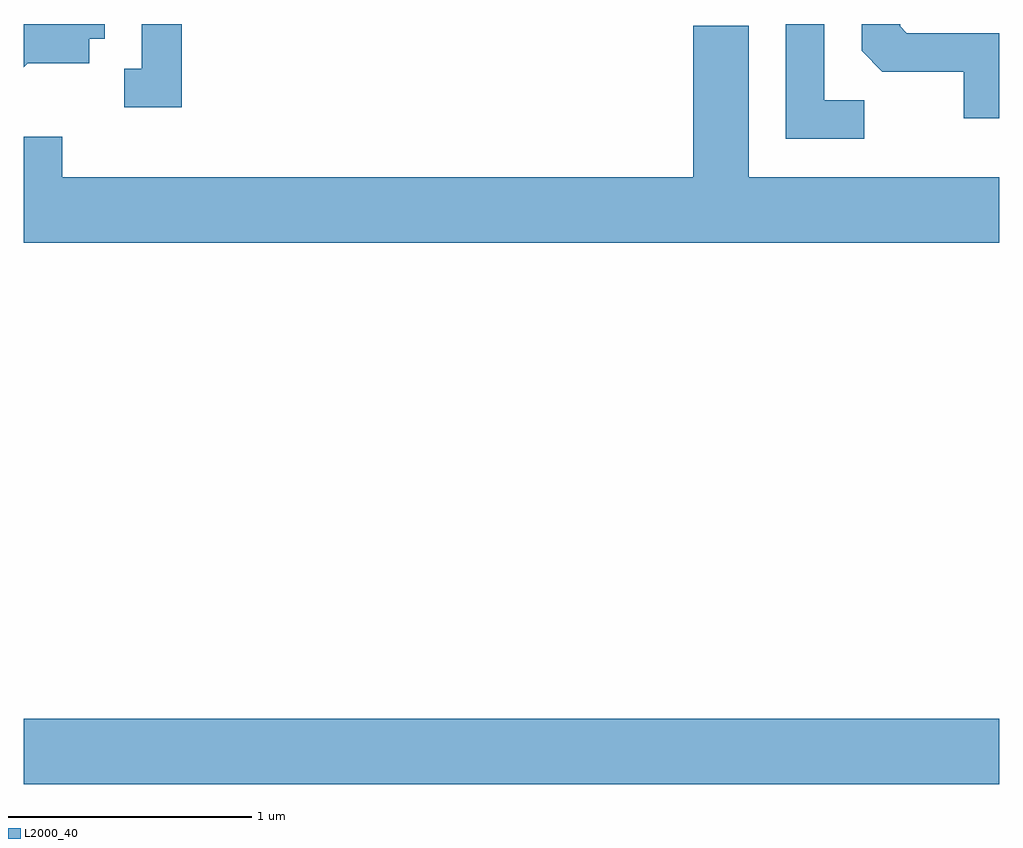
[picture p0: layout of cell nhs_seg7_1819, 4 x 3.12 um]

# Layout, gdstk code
import gdstk
lib = gdstk.Library(unit=1e-6, precision=1e-09)
def R(c, l, rs):  # rectangles x0, y0, x1, y1
    for r in rs: c.add(gdstk.rectangle(r[:2], r[2:], *l))
def P(c, l, *ps):  # polygons
    for p in ps: c.add(gdstk.Polygon(p, *l))
L2000_40 = (2000, 40)

nhs_seg7_1819 = lib.new_cell('nhs_seg7_1819')
R(nhs_seg7_1819, L2000_40, [(239.611,1783.136,243.611,1783.404)])
P(nhs_seg7_1819, L2000_40, [(239.627,1786.091),(239.879,1786.091),(239.879,1786.191),(239.944,1786.191),(239.944,1786.252),(239.611,1786.252),(239.611,1786.075)],
  [(240.259,1786.252),(240.096,1786.252),(240.096,1786.069),(240.023,1786.069),(240.023,1785.911),(240.259,1785.911)],
  [(243.611,1786.214),(243.232,1786.214),(243.204,1786.242),(243.204,1786.252),(243.046,1786.252),(243.046,1786.142),(243.132,1786.056),(243.466,1786.056),(243.466,1785.866),(243.611,1785.866)],
  [(243.058,1785.939),(242.894,1785.939),(242.894,1786.252),(242.736,1786.252),(242.736,1785.781),(243.058,1785.781)],
  [(243.611,1785.624),(242.584,1785.624),(242.584,1786.244),(242.356,1786.244),(242.356,1785.624),(239.769,1785.624),(239.769,1785.789),(239.611,1785.789),(239.611,1785.356),(243.611,1785.356)])

lib.write_gds('nhs_seg7_1819.gds')
